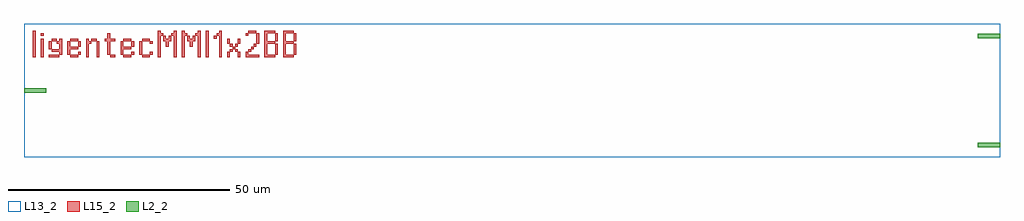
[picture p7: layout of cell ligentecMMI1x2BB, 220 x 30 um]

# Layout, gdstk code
import gdstk
lib = gdstk.Library(unit=1e-6, precision=5e-09)
def R(c, l, rs):  # rectangles x0, y0, x1, y1
    for r in rs: c.add(gdstk.rectangle(r[:2], r[2:], *l))
def A(c, l, x, y, w, h, nx, ny, dx, dy):  # array of equal rectangles
    R(c, l, [(x+i*dx, y+j*dy, x+i*dx+w, y+j*dy+h) for i in range(nx) for j in range(ny)])
L2_2 = (2, 2)
L13_2 = (13, 2)
L15_2 = (15, 2)

ligentecmmi1x2bb = lib.new_cell('ligentecMMI1x2BB')
R(ligentecmmi1x2bb, L2_2, [(210,-12.77,215,-11.77), (-5,-0.5,0,0.5), (210,11.77,215,12.77)])
R(ligentecmmi1x2bb, L13_2, [(-5,-15,215,15)])
A(ligentecmmi1x2bb, L15_2, 5.4, 7.5, 1.8, 0.6, 1, 3, 0, 1.8)
A(ligentecmmi1x2bb, L15_2, 17.4, 7.5, 1.8, 0.6, 1, 3, 0, 1.8)
A(ligentecmmi1x2bb, L15_2, 45.6, 12.9, 1.8, 0.6, 3, 1, 4.2, 0)
R(ligentecmmi1x2bb, L15_2, [(-3,7.5,-2.4,13.5), (-1.2,7.5,-0.6,11.7), (0.6,7.5,3,8.1), (9,7.5,9.6,11.7), (11.4,7.5,12,11.1), (14.4,7.5,15.6,8.1), (21.6,7.5,23.4,8.1), (25.2,7.5,25.8,13.5), (28.8,7.5,29.4,13.5), (30.6,7.5,31.2,13.5), (34.2,7.5,34.8,13.5), (36,7.5,36.6,13.5), (39,7.5,39.6,13.5), (40.8,7.5,41.4,8.7), (43.2,7.5,43.8,8.7), (45,7.5,45.6,8.7), (45.6,7.5,48,8.1), (49.2,7.5,49.8,13.5), (49.8,7.5,51.6,8.1), (53.4,7.5,54,13.5), (54,7.5,55.8,8.1), (3,8.1,3.6,11.7), (4.8,8.1,5.4,11.1), (7.2,8.1,7.8,8.7), (13.8,8.1,14.4,12.9), (16.8,8.1,17.4,11.1), (19.2,8.1,19.8,8.7), (21,8.1,21.6,11.1), (23.4,8.1,24,8.7), (51.6,8.1,52.2,10.5), (55.8,8.1,56.4,10.5), (1.2,8.7,3,9.3), (41.4,8.7,42,9.3), (42.6,8.7,43.2,9.3), (45.6,8.7,46.2,9.3), (0.6,9.3,1.2,11.1), (42,9.3,42.6,9.9), (46.2,9.3,46.8,9.9), (7.2,9.9,7.8,11.1), (19.2,9.9,19.8,11.1), (27,9.9,27.6,11.7), (32.4,9.9,33,11.7), (41.4,9.9,42,10.5), (42.6,9.9,43.2,10.5), (46.8,9.9,47.4,10.5), (2.4,10.5,3,11.1), (9.6,10.5,10.2,11.1), (23.4,10.5,24,11.1), (40.8,10.5,41.4,11.7), (43.2,10.5,43.8,11.7), (47.4,10.5,48,12.9), (49.8,10.5,51.6,11.1), (54,10.5,55.8,11.1), (1.2,11.1,2.4,11.7), (10.2,11.1,11.4,11.7), (13.2,11.1,13.8,11.7), (14.4,11.1,15.6,11.7), (21.6,11.1,23.4,11.7), (26.4,11.1,27,12.3), (27.6,11.1,28.2,12.3), (31.8,11.1,32.4,12.3), (33,11.1,33.6,12.3), (51.6,11.1,52.2,12.9), (55.8,11.1,56.4,12.9), (37.8,11.7,38.4,12.3), (-1.2,12.3,-0.6,12.9), (25.8,12.3,26.4,12.9), (28.2,12.3,28.8,12.9), (31.2,12.3,31.8,12.9), (33.6,12.3,34.2,12.9), (38.4,12.3,39,12.9), (45,12.3,45.6,12.9)])

lib.write_gds('ligentecMMI1x2BB.gds')
